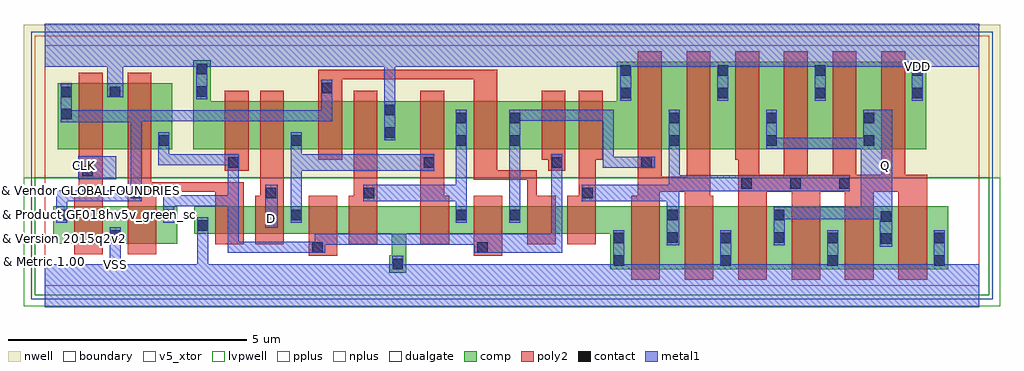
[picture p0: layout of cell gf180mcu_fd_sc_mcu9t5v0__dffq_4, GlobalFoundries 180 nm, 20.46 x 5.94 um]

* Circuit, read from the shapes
.subckt gf180mcu_fd_sc_mcu9t5v0__dffq_4 CLK D Q VDD VSS
XM1 VSS CLK n1 VSUBS nfet_05v0 w=0.79u l=0.6u
XM2 n2 n1 VSS VSUBS nfet_05v0 w=0.79u l=0.6u
XM3 n3 n1 VSS VSUBS nfet_05v0 w=0.58u l=0.6u
XM4 n4 D n3 VSUBS nfet_05v0 w=0.58u l=0.6u
XM5 n5 n2 n4 VSUBS nfet_05v0 w=0.58u l=0.6u
XM6 VSS n6 n5 VSUBS nfet_05v0 w=0.58u l=0.6u
XM7 n6 n4 VSS VSUBS nfet_05v0 w=0.58u l=0.6u
XM8 n7 n2 n6 VSUBS nfet_05v0 w=0.58u l=0.6u
XM9 n8 n1 n7 VSUBS nfet_05v0 w=0.58u l=0.6u
XM10 VSS n9 n8 VSUBS nfet_05v0 w=0.58u l=0.6u
XM11 n9 n7 VSS VSUBS nfet_05v0 w=1.32u l=0.6u m=2
XM12 Q n9 VSS VSUBS nfet_05v0 w=1.32u l=0.6u m=4
XM13 VDD CLK n1 n10 pfet_05v0 w=1.38u l=0.5u
XM14 n2 n1 VDD n10 pfet_05v0 w=1.38u l=0.5u
XM15 n11 n2 VDD n10 pfet_05v0 w=1u l=0.5u
XM16 n4 D n11 n10 pfet_05v0 w=1u l=0.5u
XM17 n12 n1 n4 n10 pfet_05v0 w=1u l=0.5u
XM18 VDD n6 n12 n10 pfet_05v0 w=1u l=0.5u
XM19 n6 n4 VDD n10 pfet_05v0 w=1u l=0.5u
XM20 n7 n1 n6 n10 pfet_05v0 w=1u l=0.5u
XM21 n13 n2 n7 n10 pfet_05v0 w=1u l=0.5u
XM22 VDD n9 n13 n10 pfet_05v0 w=1u l=0.5u
XM23 n9 n7 VDD n10 pfet_05v0 w=1.83u l=0.5u m=2
XM24 Q n9 VDD n10 pfet_05v0 w=1.83u l=0.5u m=4
.ends

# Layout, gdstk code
import gdstk
lib = gdstk.Library(unit=1e-6, precision=1e-09)
def R(c, l, rs):  # rectangles x0, y0, x1, y1
    for r in rs: c.add(gdstk.rectangle(r[:2], r[2:], *l))
def A(c, l, x, y, w, h, nx, ny, dx, dy):  # array of equal rectangles
    R(c, l, [(x+i*dx, y+j*dy, x+i*dx+w, y+j*dy+h) for i in range(nx) for j in range(ny)])
def P(c, l, *ps):  # polygons
    for p in ps: c.add(gdstk.Polygon(p, *l))
boundary = (0, 0)
nwell = (21, 0)
comp = (22, 0)
poly2 = (30, 0)
pplus = (31, 0)
nplus = (32, 0)
contact = (33, 0)
metal1 = (34, 0)
dualgate = (55, 0)
v5_xtor = (112, 1)
lvpwell = (204, 0)

gf180mcu_fd_sc_mcu9t5v0_ = lib.new_cell('gf180mcu_fd_sc_mcu9t5v0__dffq_4')
R(gf180mcu_fd_sc_mcu9t5v0_, boundary, [(0,0,19.6,5.04)])
R(gf180mcu_fd_sc_mcu9t5v0_, nwell, [(-0.43,2.265,20.03,5.47)])
R(gf180mcu_fd_sc_mcu9t5v0_, comp, [(0.18,0.875,2.78,1.665), (0.28,2.865,2.68,4.245)])
P(gf180mcu_fd_sc_mcu9t5v0_, comp, [(3.12,2.865),(3.12,4.725),(3.48,4.725),(3.48,3.865),(12,3.865),(12,4.695),(18.48,4.695),(18.48,2.865)],
  [(7.225,0.275),(7.225,0.635),(7.28,0.635),(7.28,1.085),(3.14,1.085),(3.14,1.665),(18.94,1.665),(18.94,0.345),(11.86,0.345),(11.86,1.085),(7.58,1.085),(7.58,0.595),(7.585,0.595),(7.585,0.275)])
R(gf180mcu_fd_sc_mcu9t5v0_, poly2, [(5.54,0.625,6.14,1.885), (9,0.625,9.6,1.885), (3.78,2.405,4.28,4.085)])
P(gf180mcu_fd_sc_mcu9t5v0_, poly2, [(0.62,0.655),(0.62,1.885),(0.72,1.885),(0.72,4.465),(1.22,4.465),(1.22,0.655)],
  [(1.74,0.655),(1.74,4.465),(2.24,4.465),(2.24,2.165),(4.18,2.165),(4.18,0.865),(3.58,0.865),(3.58,1.965),(2.34,1.965),(2.34,0.655)],
  [(4.42,0.865),(4.42,1.885),(4.52,1.885),(4.52,4.085),(5.02,4.085),(5.02,0.865)],
  [(6.38,0.865),(6.38,1.885),(6.48,1.885),(6.48,4.085),(6.98,4.085),(6.98,0.865)],
  [(7.88,0.865),(7.88,4.085),(8.38,4.085),(8.38,1.885),(8.48,1.885),(8.48,0.865)],
  [(10.12,0.865),(10.12,2.225),(8.995,2.225),(8.995,4.325),(6.24,4.325),(6.24,2.645),(5.74,2.645),(5.74,4.525),(9.495,4.525),(9.495,2.425),(10.32,2.425),(10.32,1.885),(10.72,1.885),(10.72,0.865)],
  [(10.56,2.405),(10.56,2.645),(10.42,2.645),(10.42,4.085),(10.92,4.085),(10.92,2.405)],
  [(10.96,0.865),(10.96,1.885),(11.2,1.885),(11.2,4.085),(11.7,4.085),(11.7,2.645),(11.56,2.645),(11.56,0.865)],
  [(12.3,0.125),(12.3,1.885),(12.44,1.885),(12.44,4.915),(12.94,4.915),(12.94,2.28),(13.46,2.28),(13.46,4.915),(13.96,4.915),(13.96,1.885),(14.02,1.885),(14.02,0.125),(13.42,0.125),(13.42,1.965),(12.9,1.965),(12.9,0.125)],
  [(14.54,0.125),(14.54,2.645),(14.48,2.645),(14.48,4.915),(14.98,4.915),(14.98,2.325),(15.5,2.325),(15.5,4.915),(16,4.915),(16,2.325),(16.52,2.325),(16.52,4.915),(17.02,4.915),(17.02,2.325),(17.54,2.325),(17.54,4.915),(18.04,4.915),(18.04,2.325),(18.5,2.325),(18.5,0.125),(17.9,0.125),(17.9,1.965),(17.38,1.965),(17.38,0.125),(16.78,0.125),(16.78,1.965),(16.26,1.965),(16.26,0.125),(15.66,0.125),(15.66,1.965),(15.14,1.965),(15.14,0.125)])
R(gf180mcu_fd_sc_mcu9t5v0_, pplus, [(-0.2,2.265,19.8,5.24)])
R(gf180mcu_fd_sc_mcu9t5v0_, nplus, [(-0.2,-0.2,19.8,2.265)])
A(gf180mcu_fd_sc_mcu9t5v0_, contact, 11.93, 0.415, 0.22, 0.22, 4, 2, 2.24, 0.47)
A(gf180mcu_fd_sc_mcu9t5v0_, contact, 13.09, 2.935, 0.22, 0.22, 3, 2, 2.04, 0.47)
A(gf180mcu_fd_sc_mcu9t5v0_, contact, 12.07, 3.935, 0.22, 0.22, 4, 2, 2.04, 0.47)
R(gf180mcu_fd_sc_mcu9t5v0_, contact, [(7.295,0.345,7.515,0.565), (5.61,0.695,5.83,0.915), (9.07,0.695,9.29,0.915), (17.53,0.875,17.75,1.095), (13.05,0.905,13.27,1.125), (15.29,0.905,15.51,1.125), (1.37,0.945,1.59,1.165), (3.21,1.155,3.43,1.375), (17.53,1.345,17.75,1.565), (0.25,1.375,0.47,1.595), (2.49,1.375,2.71,1.595), (5.17,1.375,5.39,1.595), (8.63,1.375,8.85,1.595), (9.75,1.375,9.97,1.595), (13.05,1.375,13.27,1.595), (15.29,1.375,15.51,1.595), (1.81,1.835,2.03,2.055), (4.635,1.835,4.855,2.055), (6.69,1.835,6.91,2.055), (11.27,1.835,11.49,2.055), (14.61,2.035,14.83,2.255), (15.63,2.035,15.85,2.255), (16.66,2.035,16.88,2.255), (0.79,2.295,1.01,2.515), (3.85,2.475,4.07,2.695), (7.95,2.475,8.17,2.695), (10.63,2.475,10.85,2.695), (12.51,2.475,12.73,2.695), (2.39,2.935,2.61,3.155), (5.17,2.935,5.39,3.155), (8.625,2.935,8.845,3.155), (9.75,2.935,9.97,3.155), (7.13,3.105,7.35,3.325), (8.625,3.405,8.845,3.625), (9.75,3.405,9.97,3.625), (0.35,3.485,0.57,3.705), (7.13,3.575,7.35,3.795), (0.35,3.955,0.57,4.175), (1.37,3.955,1.59,4.175), (3.19,3.965,3.41,4.185), (5.81,4.035,6.03,4.255), (3.19,4.435,3.41,4.655)])
R(gf180mcu_fd_sc_mcu9t5v0_, metal1, [(4.63,1.21,4.89,2.115), (0.71,2.235,1.505,2.71)])
P(gf180mcu_fd_sc_mcu9t5v0_, metal1, [(0.245,1.315),(0.245,2.005),(1.805,2.005),(1.805,3.425),(0.345,3.425),(0.345,4.235),(0.575,4.235),(0.575,3.675),(5.805,3.675),(5.805,4.315),(6.035,4.315),(6.035,3.445),(2.035,3.445),(2.035,1.775),(0.475,1.775),(0.475,1.315)],
  [(5.165,1.315),(5.165,3.215),(5.395,3.215),(5.395,2.755),(8.175,2.755),(8.175,2.415),(5.395,2.415),(5.395,1.315)],
  [(8.625,1.315),(8.625,1.775),(6.685,1.775),(6.685,2.115),(8.62,2.115),(8.62,3.685),(8.855,3.685),(8.855,1.315)],
  [(3.845,0.69),(3.845,1.665),(2.715,1.665),(2.715,1.315),(2.485,1.315),(2.485,1.895),(3.845,1.895),(3.845,2.525),(2.385,2.525),(2.385,3.215),(2.615,3.215),(2.615,2.755),(4.075,2.755),(4.075,0.92),(5.665,0.92),(5.665,1.085),(10.625,1.085),(10.625,2.755),(10.855,2.755),(10.855,0.69),(9.01,0.69),(9.01,0.855),(5.89,0.855),(5.89,0.69)],
  [(9.745,1.315),(9.745,3.685),(11.935,3.685),(11.935,2.7),(12.79,2.7),(12.79,2.47),(11.705,2.47),(11.705,3.455),(9.975,3.455),(9.975,1.315)],
  [(13.045,0.845),(13.045,1.775),(11.265,1.775),(11.265,2.115),(13.085,2.115),(13.085,3.685),(13.315,3.685),(13.315,2.315),(16.885,2.315),(16.885,1.975),(13.31,1.975),(13.31,0.845)],
  [(17.51,0.815),(17.51,1.395),(15.515,1.395),(15.515,0.845),(15.285,0.845),(15.285,1.655),(17.115,1.655),(17.115,2.875),(15.125,2.875),(15.125,3.685),(15.355,3.685),(15.355,3.105),(17.165,3.105),(17.165,3.685),(17.77,3.685),(17.77,0.815)],
  [(0,-0.45),(0,0.45),(1.365,0.45),(1.365,1.225),(1.595,1.225),(1.595,0.45),(3.205,0.45),(3.205,1.435),(3.435,1.435),(3.435,0.45),(7.29,0.45),(7.29,0.625),(7.52,0.625),(7.52,0.45),(11.925,0.45),(11.925,1.165),(12.155,1.165),(12.155,0.45),(14.165,0.45),(14.165,1.165),(14.395,1.165),(14.395,0.45),(16.405,0.45),(16.405,1.165),(16.635,1.165),(16.635,0.45),(18.645,0.45),(18.645,1.165),(18.875,1.165),(18.875,0.45),(19.6,0.45),(19.6,-0.45)],
  [(7.125,3.045),(7.125,4.59),(3.415,4.59),(3.415,3.905),(3.185,3.905),(3.185,4.59),(1.65,4.59),(1.65,3.95),(1.31,3.95),(1.31,4.59),(0,4.59),(0,5.49),(19.6,5.49),(19.6,4.59),(18.415,4.59),(18.415,3.875),(18.185,3.875),(18.185,4.59),(16.375,4.59),(16.375,3.875),(16.145,3.875),(16.145,4.59),(14.335,4.59),(14.335,3.875),(14.105,3.875),(14.105,4.59),(12.295,4.59),(12.295,3.875),(12.065,3.875),(12.065,4.59),(7.355,4.59),(7.355,3.045)])
R(gf180mcu_fd_sc_mcu9t5v0_, dualgate, [(-0.28,-0.28,19.88,5.32)])
R(gf180mcu_fd_sc_mcu9t5v0_, v5_xtor, [(0,0,19.6,5.04)])
R(gf180mcu_fd_sc_mcu9t5v0_, lvpwell, [(-0.43,-0.43,20.03,2.265)])
gf180mcu_fd_sc_mcu9t5v0_.add(gdstk.Label('CLK', (0.84,2.52), layer=34, texttype=10))
gf180mcu_fd_sc_mcu9t5v0_.add(gdstk.Label('D', (4.76,1.4), layer=34, texttype=10))
gf180mcu_fd_sc_mcu9t5v0_.add(gdstk.Label('Q', (17.64,2.52), layer=34, texttype=10))
gf180mcu_fd_sc_mcu9t5v0_.add(gdstk.Label('VDD', (18.3,4.59), layer=34, texttype=10))
gf180mcu_fd_sc_mcu9t5v0_.add(gdstk.Label('VSS', (1.48,0.45), layer=34, texttype=10))
gf180mcu_fd_sc_mcu9t5v0_.add(gdstk.Label('& Vendor GLOBALFOUNDRIES', (0,2), layer=63, texttype=63))
gf180mcu_fd_sc_mcu9t5v0_.add(gdstk.Label('& Product GF018hv5v_green_sc9', (0,1.5), layer=63, texttype=63))
gf180mcu_fd_sc_mcu9t5v0_.add(gdstk.Label('& Version 2015q2v2', (0,1), layer=63, texttype=63))
gf180mcu_fd_sc_mcu9t5v0_.add(gdstk.Label('& Metric 1.00', (0,0.5), layer=63, texttype=63))

lib.write_gds('gf180mcu_fd_sc_mcu9t5v0__dffq_4.gds')
